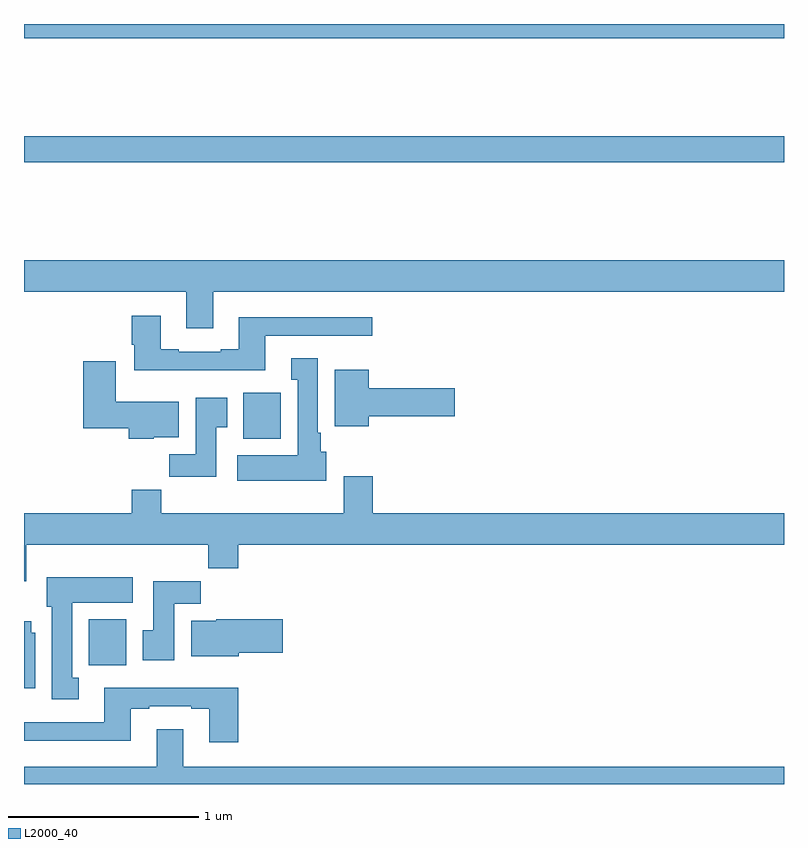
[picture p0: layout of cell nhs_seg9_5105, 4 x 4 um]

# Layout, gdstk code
import gdstk
lib = gdstk.Library(unit=1e-6, precision=1e-09)
def R(c, l, rs):  # rectangles x0, y0, x1, y1
    for r in rs: c.add(gdstk.rectangle(r[:2], r[2:], *l))
def P(c, l, *ps):  # polygons
    for p in ps: c.add(gdstk.Polygon(p, *l))
L2000_40 = (2000, 40)

nhs_seg9_5105 = lib.new_cell('nhs_seg9_5105')
R(nhs_seg9_5105, L2000_40, [(407.342,1189.124,407.539,1189.366), (408.155,1190.318,408.352,1190.56), (407,1191.772,411,1191.908), (407,1192.424,411,1192.5)])
P(nhs_seg9_5105, L2000_40, [(407.995,1191.092),(411,1191.092),(411,1191.256),(407,1191.256),(407,1191.092),(407.855,1191.092),(407.855,1190.898),(407.995,1190.898)],
  [(408.271,1190.859),(408.832,1190.859),(408.832,1190.956),(408.131,1190.956),(408.131,1190.788),(408.035,1190.788),(408.035,1190.775),(407.815,1190.775),(407.815,1190.788),(407.719,1190.788),(407.719,1190.965),(407.567,1190.965),(407.567,1190.812),(407.579,1190.812),(407.579,1190.678),(408.271,1190.678)],
  [(408.592,1190.25),(408.562,1190.25),(408.562,1190.35),(408.547,1190.35),(408.547,1190.74),(408.407,1190.74),(408.407,1190.627),(408.44,1190.627),(408.44,1190.23),(408.123,1190.23),(408.123,1190.096),(408.592,1190.096)],
  [(407.682,1190.324),(407.815,1190.324),(407.815,1190.512),(407.482,1190.512),(407.482,1190.725),(407.312,1190.725),(407.312,1190.372),(407.552,1190.372),(407.552,1190.318),(407.682,1190.318)],
  [(408.814,1190.435),(409.267,1190.435),(409.267,1190.582),(408.814,1190.582),(408.814,1190.68),(408.635,1190.68),(408.635,1190.384),(408.814,1190.384)],
  [(408.013,1190.377),(408.07,1190.377),(408.07,1190.533),(407.903,1190.533),(407.903,1190.236),(407.764,1190.236),(407.764,1190.118),(408.013,1190.118)],
  [(407.011,1189.76),(407.971,1189.76),(407.971,1189.636),(408.128,1189.636),(408.128,1189.76),(411,1189.76),(411,1189.924),(408.836,1189.924),(408.836,1190.119),(408.683,1190.119),(408.683,1189.924),(407.723,1189.924),(407.723,1190.048),(407.567,1190.048),(407.567,1189.924),(407,1189.924),(407,1189.566),(407.011,1189.566)],
  [(407.287,1189.058),(407.254,1189.058),(407.254,1189.454),(407.572,1189.454),(407.572,1189.588),(407.12,1189.588),(407.12,1189.434),(407.147,1189.434),(407.147,1188.945),(407.287,1188.945)],
  [(407.791,1189.448),(407.93,1189.448),(407.93,1189.567),(407.681,1189.567),(407.681,1189.308),(407.624,1189.308),(407.624,1189.152),(407.791,1189.152)],
  [(408.13,1189.19),(408.361,1189.19),(408.361,1189.366),(408.012,1189.366),(408.012,1189.36),(407.879,1189.36),(407.879,1189.172),(408.13,1189.172)],
  [(407.059,1189.296),(407.038,1189.296),(407.038,1189.357),(407,1189.357),(407,1189.004),(407.059,1189.004)],
  [(408.128,1189.006),(407.423,1189.006),(407.423,1188.825),(407,1188.825),(407,1188.728),(407.563,1188.728),(407.563,1188.897),(407.659,1188.897),(407.659,1188.909),(407.879,1188.909),(407.879,1188.897),(407.975,1188.897),(407.975,1188.72),(408.128,1188.72)],
  [(411,1188.592),(407.839,1188.592),(407.839,1188.787),(407.699,1188.787),(407.699,1188.592),(407,1188.592),(407,1188.5),(411,1188.5)])

lib.write_gds('nhs_seg9_5105.gds')
